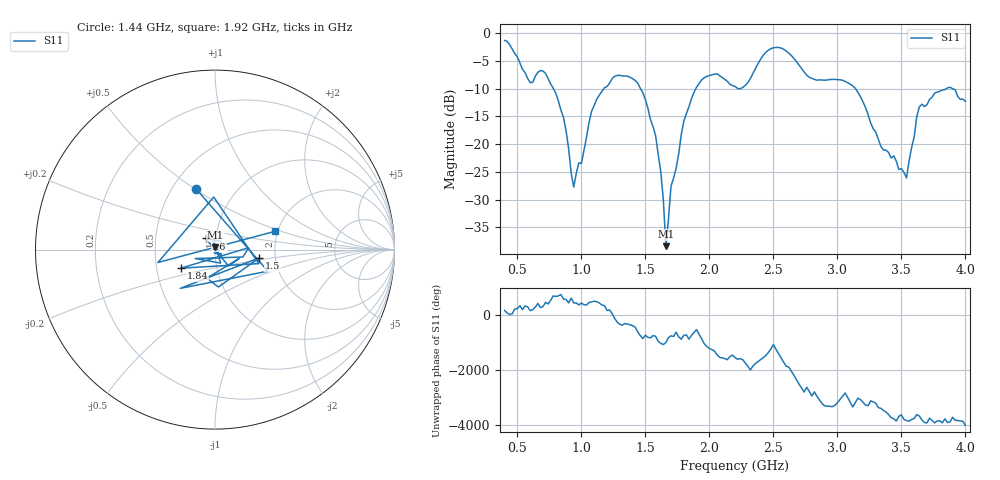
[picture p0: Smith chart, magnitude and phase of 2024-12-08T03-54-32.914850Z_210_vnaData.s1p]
!Created with skrf (http://scikit-rf.org).
# Hz S RI R 50.0
!freq ReS11 ImS11
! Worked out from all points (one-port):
!   181 points, 400 MHz to 4 GHz, reference 50 ohm
!   lowest |S11| = -38.4 dB at 1.66 GHz (marker M1), VSWR 1.02, Z = 50.1 + j1.2 ohm
!   |S11| at or under -10 dB: 781.2 MHz to 1.176 GHz (394.3 MHz wide, 40.3 % of centre); 1.461 GHz to 1.894 GHz (433 MHz wide, 25.8 % of centre); 3.141 GHz to 3.853 GHz (711.4 MHz wide, 20.3 % of centre) (the widest 3 of 5)
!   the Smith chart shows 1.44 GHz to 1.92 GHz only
!   S11 on the Smith chart (normalised r, x): 1.44 GHz: 0.65, +0.51; 1.5 GHz: 1.65, -0.16; 1.6 GHz: 0.89, +0.11; 1.84 GHz: 0.67, -0.14; 1.92 GHz: 1.94, +0.45
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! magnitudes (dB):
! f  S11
! 400 MHz  -1.3
! 600 MHz  -8.9
! 720 MHz  -7.3
! 860 MHz  -15.2
! 940 MHz  -27.7
! 1.08 GHz  -14.1
! 1.3 GHz  -7.6
! 1.44 GHz  -9.0
! 1.5 GHz  -12.0
! 1.6 GHz  -21.9
! 1.64 GHz  -30.0
! 1.66 GHz  -38.4
! 1.7 GHz  -27.6
! 1.76 GHz  -21.8
! 1.84 GHz  -13.3
! 1.92 GHz  -9.1
! 2.06 GHz  -7.4
! 2.2 GHz  -9.6
! 2.48 GHz  -2.8
! 2.66 GHz  -4.6
! 2.78 GHz  -8.0
! 3.1 GHz  -9.2
! 3.36 GHz  -21.1
! 3.54 GHz  -26.1
! 3.56 GHz  -23.0
! 3.64 GHz  -13.3
! 3.88 GHz  -9.8
! 4 GHz  -12.3
